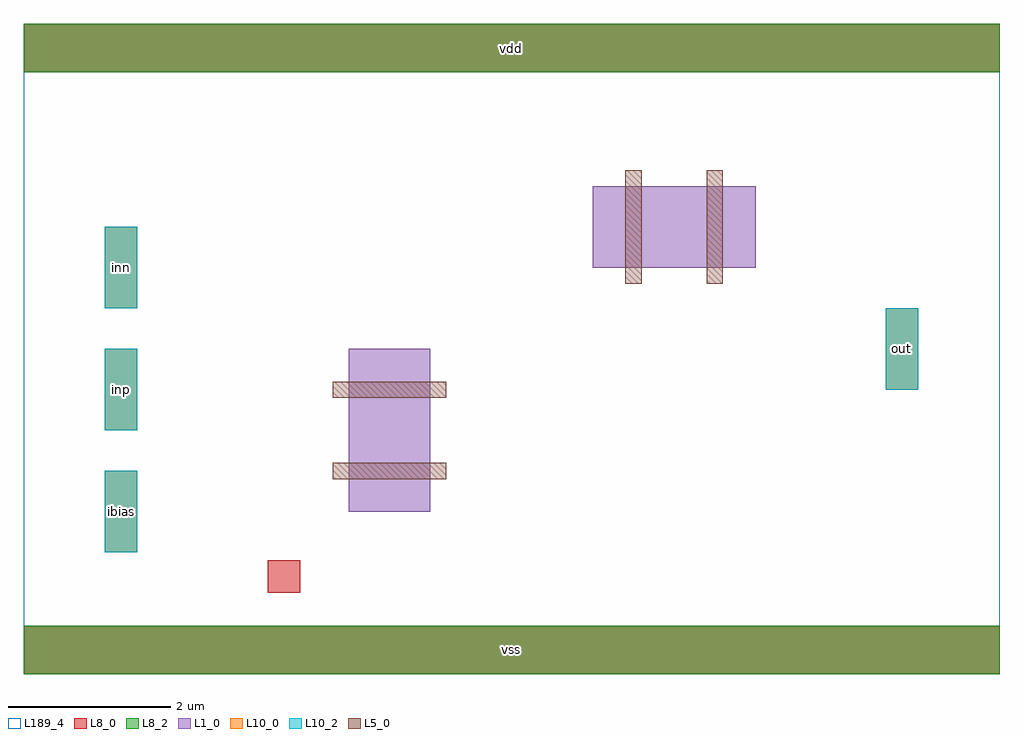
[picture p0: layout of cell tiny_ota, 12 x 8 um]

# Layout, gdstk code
from math import pi, radians
import gdstk
lib = gdstk.Library(unit=1e-6, precision=1e-09)
def R(c, l, rs):  # rectangles x0, y0, x1, y1
    for r in rs: c.add(gdstk.rectangle(r[:2], r[2:], *l))
def A(c, l, x, y, w, h, nx, ny, dx, dy):  # array of equal rectangles
    R(c, l, [(x+i*dx, y+j*dy, x+i*dx+w, y+j*dy+h) for i in range(nx) for j in range(ny)])
L1_0 = (1, 0)
L5_0 = (5, 0)
L8_0 = (8, 0)
L8_2 = (8, 2)
L10_0 = (10, 0)
L10_2 = (10, 2)
L189_4 = (189, 4)

tiny_ota_pair = lib.new_cell('tiny_ota_pair')
R(tiny_ota_pair, L1_0, [(0,0,2,1)])
R(tiny_ota_pair, L5_0, [(0.4,-0.2,0.6,1.2), (1.4,-0.2,1.6,1.2)])

tiny_ota = lib.new_cell('tiny_ota')
R(tiny_ota, L8_0, [(0,0,12,0.6), (3,1,3.4,1.4), (0,7.4,12,8)])
R(tiny_ota, L8_2, [(0,0,12,0.6), (0,7.4,12,8)])
A(tiny_ota, L10_0, 1, 1.5, 0.4, 1, 1, 3, 0, 1.5)
R(tiny_ota, L10_0, [(10.6,3.5,11,4.5)])
A(tiny_ota, L10_2, 1, 1.5, 0.4, 1, 1, 3, 0, 1.5)
R(tiny_ota, L10_2, [(10.6,3.5,11,4.5)])
R(tiny_ota, L189_4, [(0,0,12,8)])
tiny_ota.add(gdstk.Reference(tiny_ota_pair, (5,2), rotation=pi/2))
tiny_ota.add(gdstk.Reference(tiny_ota_pair, (7,6), x_reflection=True))
tiny_ota.add(gdstk.Label('vdd', (6,7.7), layer=8, texttype=25))
tiny_ota.add(gdstk.Label('vss', (6,0.3), layer=8, texttype=25))
tiny_ota.add(gdstk.Label('inp', (1.2,3.5), layer=10, texttype=25))
tiny_ota.add(gdstk.Label('inn', (1.2,5), layer=10, texttype=25))
tiny_ota.add(gdstk.Label('ibias', (1.2,2), layer=10, texttype=25))
tiny_ota.add(gdstk.Label('out', (10.8,4), layer=10, texttype=25))

lib.write_gds('tiny_ota.gds')
